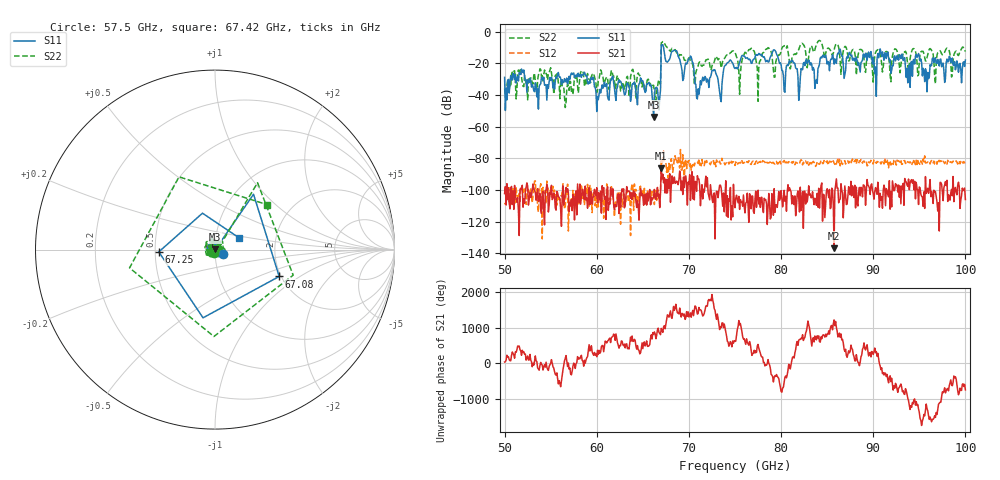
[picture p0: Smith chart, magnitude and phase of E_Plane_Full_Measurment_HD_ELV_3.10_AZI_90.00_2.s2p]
! 11/26/2026 3:14:23 PM
! C:\ANRITSUVNA\TEMP\TEMP.S2P
! CHANNEL.1
! TR.MEASUREMENT
! RAW.DATA
# HZ S RI R 50.0
! FREQ.HZ  S11RE  S11IM  S21RE  S21IM  S12RE  S12IM  S22RE  S22IM
!; PortSelection: Port_12
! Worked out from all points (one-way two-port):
!   601 points, 50 GHz to 100 GHz, reference 50 ohm
!   highest |S21| = -86.30 dB at 67 GHz (marker M1); lowest = -137.0 dB at 85.75 GHz (marker M2)
!   lowest |S11| = -54.0 dB at 66.17 GHz (marker M3), VSWR 1.00, Z = 50.1 + j0.144 ohm
!   |S11| at or under -10 dB: start of sweep to 67 GHz; 67.25 GHz to end of sweep
!   |S22| runs from -48.0 to -5.6 dB; largest |S21 - S12| = 0.00019
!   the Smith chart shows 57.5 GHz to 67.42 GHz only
!   S11 on the Smith chart (normalised r, x): 57.5 GHz: 1.09, -0.05; 67.08 GHz: 1.95, -0.69; 67.25 GHz: 0.52, -0.01; 67.42 GHz: 1.29, +0.18
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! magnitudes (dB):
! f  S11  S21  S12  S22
! 50 GHz  -28.9  -102.3  -108.5  -35.9
! 51.67 GHz  -26.3  -99.9  -108.2  -23.4
! 57.5 GHz  -26.1  -105.2  -102.3  -34.7
! 58.42 GHz  -27.1  -99.8  -100.0  -24.7
! 60.17 GHz  -43.0  -101.6  -110.7  -30.5
! 66.17 GHz  -54.0  -104.6  -101.0  -34.0
! 66.67 GHz  -41.5  -104.4  -100.1  -31.7
! 67 GHz  -8.5  -86.3  -80.1  -7.1
! 67.08 GHz  -8.2  -93.1  -86.7  -6.8
! 67.25 GHz  -10.1  -95.5  -75.5  -6.3
! 67.42 GHz  -16.6  -102.0  -82.3  -8.3
! 70.25 GHz  -15.9  -96.1  -87.8  -18.8
! 70.92 GHz  -42.6  -91.1  -82.6  -23.1
! 75 GHz  -23.3  -111.3  -84.6  -13.0
! 79.25 GHz  -11.5  -99.2  -83.4  -28.8
! 80.25 GHz  -27.8  -106.5  -82.3  -9.3
! 83.42 GHz  -24.3  -101.2  -82.4  -10.8
! 85.75 GHz  -20.5  -137.0  -83.0  -11.6
! 91.67 GHz  -16.7  -104.4  -86.0  -15.2
! 94.83 GHz  -15.0  -100.1  -81.5  -27.9
! 95.83 GHz  -38.1  -100.3  -82.9  -16.5
! 100 GHz  -18.0  -106.1  -81.8  -12.6
